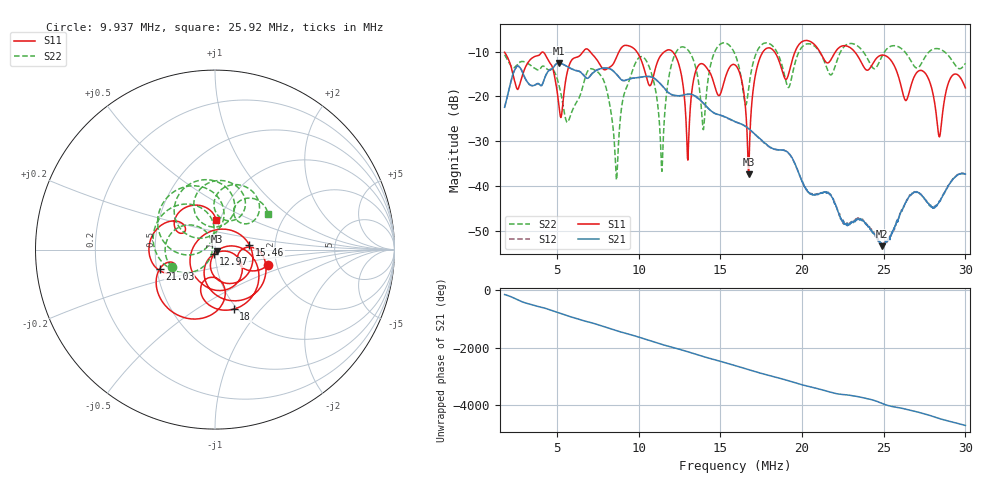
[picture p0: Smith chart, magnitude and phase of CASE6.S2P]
!Agilent Technologies,E5061B,MY49101568,A.02.00
!Date: Wed Mar 01 12:22:56 2023
!Data & Calibration Information:
!Freq	S11:SOLT2(OFF)	S21:SOLT2(OFF)	S12:SOLT2(OFF)	S22:SOLT2(OFF)
# Hz S dB R 50
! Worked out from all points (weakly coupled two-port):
!   1155 points, 1.8 MHz to 30 MHz, reference 50 ohm
!   highest |S21| = -12.54 dB at 5.099 MHz (marker M1); lowest = -53.4 dB at 24.89 MHz (marker M2)
!   lowest |S11| = -37.4 dB at 16.73 MHz (marker M3), VSWR 1.03, Z = 51 - j0.971 ohm
!   |S11| at or under -10 dB: start of sweep to 6.602 MHz; 12.07 MHz to 17.63 MHz (5.551 MHz wide, 37.4 % of centre); 23.21 MHz to end of sweep (the widest 3 of 7)
!   |S22| runs from -38.6 to -8.1 dB; largest |S21 - S12| = 0.0036
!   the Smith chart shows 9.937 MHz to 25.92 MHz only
!   S11 on the Smith chart (normalised r, x): 9.937 MHz: 1.79, -0.35; 12.97 MHz: 0.98, -0.05; 15.46 MHz: 1.47, +0.08; 18 MHz: 0.96, -0.73; 21.03 MHz: 0.52, -0.13; 25.92 MHz: 0.96, +0.32
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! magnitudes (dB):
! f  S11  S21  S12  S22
! 1.8 MHz  -10.1  -22.4  -22.4  -10.7
! 5.099 MHz  -21.3  -12.5  -12.5  -17.1
! 6.516 MHz  -10.4  -14.8  -14.7  -18.7
! 7.811 MHz  -13.8  -13.7  -13.7  -16.0
! 8.642 MHz  -11.3  -15.1  -15.0  -38.6
! 9.937 MHz  -10.3  -15.8  -15.8  -11.7
! 11.21 MHz  -11.8  -16.7  -16.7  -23.1
! 11.45 MHz  -10.5  -17.6  -17.7  -35.1
! 12.36 MHz  -11.7  -19.8  -19.9  -9.8
! 12.97 MHz  -31.3  -19.5  -19.6  -9.4
! 13.97 MHz  -12.8  -21.5  -21.6  -27.4
! 15.46 MHz  -14.3  -24.8  -24.9  -8.3
! 15.9 MHz  -13.0  -25.6  -25.7  -10.6
! 16.73 MHz  -37.4  -27.2  -27.2  -18.3
! 18 MHz  -9.2  -31.2  -31.3  -8.2
! 20.62 MHz  -8.0  -41.9  -41.7  -8.4
! 21.03 MHz  -9.7  -41.7  -41.7  -9.8
! 24.89 MHz  -10.8  -53.4  -52.8  -11.1
! 25.31 MHz  -11.4  -51.8  -51.8  -9.1
! 25.92 MHz  -15.7  -47.2  -47.1  -8.9
! 28.41 MHz  -29.0  -43.3  -43.4  -9.4
! 30 MHz  -18.1  -37.3  -37.3  -12.6
